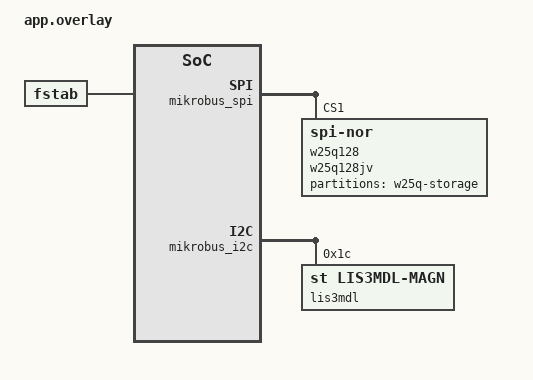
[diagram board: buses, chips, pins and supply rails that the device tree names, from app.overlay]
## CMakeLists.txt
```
cmake_minimum_required(VERSION 3.20.0)

set(BOARD nucleo_f446re)
set(SHIELD launch_mikroe)

find_package(Zephyr REQUIRED HINTS $ENV{ZEPHYR_BASE})
project(sample_logging LANGUAGES CXX)

FILE(GLOB app_sources src/*.cpp)
target_sources(app PRIVATE ${app_sources})
```

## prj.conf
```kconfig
CONFIG_CPP=y

# outputs
CONFIG_SERIAL=y
CONFIG_STDOUT_CONSOLE=y
CONFIG_DEBUG=y
CONFIG_LOG=y
# printf floating point numbers is its own thing because it's hard
CONFIG_CBPRINTF_FP_SUPPORT=y

# Magnetometer over I2C
CONFIG_I2C=y
CONFIG_SENSOR=y
CONFIG_LIS3MDL=y
CONFIG_LIS3MDL_ODR="1000"

# Flash chip is SPI
CONFIG_SPI=y
CONFIG_FLASH=y
# LittleFS requires a flash map device
CONFIG_FLASH_MAP=y
CONFIG_FLASH_PAGE_LAYOUT=y

# Use filesystem
CONFIG_FILE_SYSTEM=y
# Use LittleFS as the filesystem
CONFIG_FILE_SYSTEM_LITTLEFS=y
# LittleFS is mounted on a flash map device
CONFIG_FS_LITTLEFS_FMP_DEV=y 

# LittleFS's buffers get large
CONFIG_MAIN_STACK_SIZE=4096 
```

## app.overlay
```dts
/ {
	chosen {
		zephyr,console = &usart2;
	};

	aliases {
		led = &shield_led; 
		storage = &w25q128;
		logfs = &lfs1;
		mag = &lis3mdl;
	};

	fstab {
		compatible = "zephyr,fstab";
		lfs1: lfs1 {
			compatible = "zephyr,fstab,littlefs";
			mount-point = "/lfs";
			partition = <&external_storage_partition>;
			automount;

			// the binding reccomends defaults for these
			read-size = <16>;
			prog-size = <16>;
			cache-size = <64>; // may need to grow for optimization
			lookahead-size = <32>;
			block-cycles = <(90 * 1000)>; 
			// the datasheet gives 100K P-E cycles
			// NOTE: this seems to default to 512 for the mounted filesystem
			// anyway
		};
	};
};

&mikrobus_spi {
	w25q128: w25q128jv@1 {
		status = "okay";
		compatible = "jedec,spi-nor"; // conforms to JEDEC SFDP
		reg = <1>; // connected to to connector 1

		size = <DT_SIZE_M(128)>; // w25q128 - 128 MBit (S 11, p.75) 
		jedec-id = [ef 40 18]; // 0xef4018 (Table 8.1.1, p.22)
		spi-max-frequency = <(5 * 1000000)>; // fR = 50 MHz (Table 9.6, p.65)
		// but sticking to 1 because 50 doesn't work on my hardware, at time of
		// writing

		has-dpd;
		// Power-down 0xB9 (S 8.2.21)
		t-enter-dpd = <(3 * 1000)>; // tDP = 3 us (Table 9.6, p.66)
		// Release Power-down 0xAB (S 8.2.22)
		t-exit-dpd = <(3 * 1000)>; // tRES1 = 3 us (Table 9.6, p.66)

		partitions {
			compatible = "fixed-partitions";
			#address-cells = <1>;
			#size-cells = <1>;

			external_storage_partition: partition@0 {
				label = "w25q-storage";
				reg = <0 DT_SIZE_M(128)>; // takes up the whole flash
			};
		};
	};
};

&mikrobus_i2c {
	lis3mdl: lis3mdl@1c {
		status = "okay";
		compatible = "st,lis3mdl-magn";
		reg = <0x1c>;
	};
};

// Everything else is devicetree fragments I found helpful while doing this

/* Fragment from Discovery 1475 board, which has several ST i2c sensors

&i2c2 {
	pinctrl-0 = <&i2c2_scl_pb10 &i2c2_sda_pb11>;
	pinctrl-names = "default";
	status = "okay";
	clock-frequency = <I2C_BITRATE_FAST>;

	lis3mdl-magn@1e {
		compatible = "st,lis3mdl-magn";
		reg = <0x1e>;
	};

	hts221@5f {
		compatible = "st,hts221";
		reg = <0x5f>;
		drdy-gpios = <&gpiod 15 GPIO_ACTIVE_HIGH>;
	};

	lps22hb-press@5d {
		compatible = "st,lps22hb-press";
		reg = <0x5d>;
	};

	lsm6dsl: lsm6dsl@6a {
		compatible = "st,lsm6dsl";
		reg = <0x6a>;
		irq-gpios = <&gpiod 11 GPIO_ACTIVE_HIGH>;
	};

	vl53l0x@29 {
		compatible = "st,vl53l0x";
		reg = <0x29>;
		xshut-gpios = <&gpioc 6 GPIO_ACTIVE_LOW>;
	};
};
*/


/* Fragment from Adafruit Feather STM32F405, cited by samples/drivers/flash 
&spi1 {
	pinctrl-0 = <&spi1_nss_pa15 &spi1_sck_pb3
		     &spi1_miso_pb4 &spi1_mosi_pb5>;
	pinctrl-names = "default";
	status = "okay";
	cs-gpios = <&gpioa 15 GPIO_ACTIVE_LOW>;
	gd25q16: gd25q16c@0 {
		compatible = "jedec,spi-nor";
		reg = <0>;
		spi-max-frequency = <80000000>;
		size = <0x200000>;
		has-dpd;
		t-enter-dpd = <20000>;
		t-exit-dpd = <100000>;
		jedec-id = [c8 40 15];
	};
};
*/
```

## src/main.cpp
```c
#include "zephyr/fs/fs_interface.h"
#include <cstdint>
#include <zephyr/kernel.h>
#include <zephyr/device.h>
#include <zephyr/devicetree.h>

#include <zephyr/drivers/gpio.h>
#include <zephyr/drivers/flash.h>
#include <zephyr/drivers/sensor.h>
#include <zephyr/fs/fs.h>
#include <zephyr/logging/log.h>

#include <launch_core/os/Logger.h>
// node identifiers
// NOTE: Hardware prerequisites
// 	Launch Mikroe Click Shield
// 	W25Q128JV breakout connected to port 1

LOG_MODULE_REGISTER(sample, CONFIG_LOG_DEFAULT_LEVEL);

// devicetree gets
#define LED_NODE DT_ALIAS(led)
#define FLASH_NODE DT_ALIAS(storage)
#define MAG_NODE DT_ALIAS(mag)

const struct gpio_dt_spec led = GPIO_DT_SPEC_GET(LED_NODE, gpios);
const struct device* const flash = DEVICE_DT_GET(FLASH_NODE);
const struct device* const mag = DEVICE_DT_GET(MAG_NODE);

struct txyz {
	int32_t time;
	struct sensor_value xyz[3];
};
struct txyz mag_val;
char once_path[] = "/lfs/once";
char circ_path[] = "/lfs/circ";
char bc_path[] = "/lfs/boot_count";
#define N_SAMPLES 100

SensorLogger once_logger{once_path, sizeof(mag_val), sizeof(mag_val) * N_SAMPLES, SLOG_ONCE};
SensorLogger circ_logger{circ_path, sizeof(mag_val), sizeof(mag_val) * N_SAMPLES, SLOG_CIRC};

int32_t increment_file_int32(char* fname, int32_t* count) {
	int32_t ret;
	int32_t close_ret;
	struct fs_file_t file;

	// prepare file for usage
	fs_file_t_init(&file);
	ret = fs_open(&file, fname, FS_O_CREATE | FS_O_RDWR);
	if (ret < 0) {
		LOG_ERR("Failed to open %s: %d\n", fname, ret);
		return ret;
	}

	// get the counter from the file
	ret = fs_read(&file, count, sizeof(*count));
	if (ret < 0) {
		LOG_ERR("Failed to read counter: %d\n", ret);
		goto exit;
	}

	(*count)++;

	// go back to the start of the file
	ret = fs_seek(&file, 0, FS_SEEK_SET);
	if (ret < 0) {
		LOG_ERR("Failed to seek to start: %d\n", ret);
		goto exit;
	}

	// write the counter to the file
	ret = fs_write(&file, count, sizeof(*count));
	if (ret < 0) {
		LOG_ERR("Failed to write new count: %d\n", ret);
	}
	
exit:
	close_ret = fs_close(&file);
	if (close_ret < 0) {
		LOG_ERR("Failed to close %s: %d\n", fname, close_ret);
		return close_ret;
	}
	return ret;
}

void print_mag_val() {
	LOG_PRINTK("T: %d ct\tX: %5f ga\tY: %5f ga\tZ: %5f ga\n",
			mag_val.time, 
			sensor_value_to_double(mag_val.xyz),
			sensor_value_to_double(mag_val.xyz + 1),
			sensor_value_to_double(mag_val.xyz + 2));
}

int32_t read_mag(struct txyz* val) {
	int32_t ret = 0;

	ret = sensor_sample_fetch(mag);
	if (ret < 0) {
		LOG_ERR("Unable to fetch sensor sample: %d\n", ret);
		return ret;
	}

	val->time = k_uptime_ticks();

	ret = sensor_channel_get(mag, SENSOR_CHAN_MAGN_XYZ, val->xyz);
	if (ret < 0) {
		LOG_ERR("Unable to read sensor channel: %d\n", ret);
		return ret;
	}
	
	return 0;
}

int main(void) {
	int32_t ret = 0;
	// struct sensor_value mag_field[3];

	int32_t boot_counter = -1;

	// Boilerplate: set up GPIO
	if (!gpio_is_ready_dt(&led)) {
		LOG_ERR("GPIO is not ready");
		return -1;
	}

	if (gpio_pin_configure_dt(&led, GPIO_OUTPUT_ACTIVE) < 0) {
		LOG_ERR("Unable to configure LED output pin");
		return -1;
	}

	if (!device_is_ready(flash)) {
		LOG_ERR("Device %s is not ready", flash->name);
		return -1;
	}

	if (!device_is_ready(mag)) {
		LOG_ERR("Device %s is not ready", mag->name);
		return -1;
	}

	ret = once_logger.init();
	if (ret < 0) {
		LOG_ERR("Failed to initialize oneshot logger: %d", ret);
		return ret;
	}

	ret = circ_logger.init();
	if (ret < 0) {
		LOG_ERR("Failed to initialize circular logger: %d", ret);
		return ret;
	}

	ret = increment_file_int32(bc_path, &boot_counter);
	if (ret >= 0) {
		LOG_INF("Successfully read and updated boot counter: %d boots", boot_counter);
	} else {
		LOG_ERR("Failed to read file");
	}

	int32_t once_status = 0;
	int32_t circ_status = 0;
	uint32_t now = k_uptime_ticks();
	while (k_uptime_ticks() < (now + CONFIG_SYS_CLOCK_TICKS_PER_SEC * 10)) {
		ret = read_mag(&mag_val);
		if (ret < 0) {
			continue;
		}
		if (once_status >= 0) {
			once_status = once_logger.write((uint8_t*) &mag_val);
		}
		if (circ_status >= 0) {
			circ_status = circ_logger.write((uint8_t*) &mag_val);
		}
	}

	LOG_INF("Printing once-logged values:");
	for (size_t i = 0; i < N_SAMPLES; i++) {
		once_logger.read((uint8_t*) &mag_val, i);
		print_mag_val();
	}
	LOG_INF("Printing circular-logged values:");
	for (size_t i = 0; i < N_SAMPLES; i++) {
		circ_logger.read((uint8_t*) &mag_val, i);
		print_mag_val();
	}

	// forever
	// just proves that the thing is alive
	while(1) {
		gpio_pin_toggle_dt(&led);
		k_msleep(100);
	}
	return 0;
}
```
